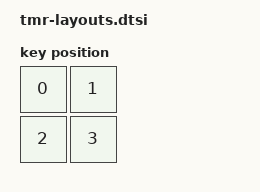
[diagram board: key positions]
// See https://zmk.dev/docs/development/hardware-integration/physical-layouts
// for how to configure this.

#include <dt-bindings/he/mouse_forwarder.h>
#include <dt-bindings/he/gamepad_forwarder.h>
#include <input/he_processors.dtsi>
#include <physical_layouts.dtsi>

&kscan_adc_top {
    first {
        io-channels = <&adc 0>;
        // deadzone-top = <>;
        // deadzone-bottom = <>;
        calibration-min = <2095>;
        calibration-max = <3286>;
    };
    second {
        io-channels = <&adc 1>;
        // deadzone-top = <>;
        // deadzone-bottom = <>;
        calibration-min = <2067>;
        calibration-max = <3245>;
    };
};

&kscan_adc_bot {
    first {
        io-channels = <&adc 2>;
        // deadzone-top = <>;
        // deadzone-bottom = <>;
        calibration-min = <2072>;
        calibration-max = <3232>;
    };
    second {
        io-channels = <&adc 3>;
        // deadzone-top = <>;
        // deadzone-bottom = <>;
        calibration-min = <2193>;
        calibration-max = <3278>;
    };
};



&adc {
    status = "okay";

    #address-cells = <1>;
    #size-cells = <0>;
    channel@0 {
        reg = <0>;
        zephyr,input-positive = <2>;
        zephyr,gain = "ADC_GAIN_1_2";
        zephyr,reference = "ADC_REF_INTERNAL";
        zephyr,acquisition-time = <ADC_ACQ_TIME(ADC_ACQ_TIME_MICROSECONDS, 10)>;
        zephyr,resolution = <12>;
    };
    channel@1 {
        reg = <1>;
        zephyr,input-positive = <3>;
        zephyr,gain = "ADC_GAIN_1_2";
        zephyr,reference = "ADC_REF_INTERNAL";
        zephyr,acquisition-time = <ADC_ACQ_TIME(ADC_ACQ_TIME_MICROSECONDS, 10)>;
        zephyr,resolution = <12>;
    };
    channel@2 {
        reg = <2>;
        zephyr,input-positive = <4>;
        zephyr,gain = "ADC_GAIN_1_2";
        zephyr,reference = "ADC_REF_INTERNAL";
        zephyr,acquisition-time = <ADC_ACQ_TIME(ADC_ACQ_TIME_MICROSECONDS, 10)>;
        zephyr,resolution = <12>;
    };
    channel@3 {
        reg = <3>;
        zephyr,input-positive = <5>;
        zephyr,gain = "ADC_GAIN_1_2";
        zephyr,reference = "ADC_REF_INTERNAL";
        zephyr,acquisition-time = <ADC_ACQ_TIME(ADC_ACQ_TIME_MICROSECONDS, 10)>;
        zephyr,resolution = <12>;
    };
};

&raw_sp {
    matrix-size = <2 2>;
    working-area = <250 3050>;
    // I lost so many hours debugging this with the wrong values, please check them carefully in the future
    filter-coefficients = <0x3ca485df 0x3d2485df 0x3ca485df 0x3f800000 0xbfc7cf71 0x3f242f9d>;
};

&he_trans {
};

&he_pass {
    kscan-passthrough-position = <2700>;
    keymap-size = <4>;
};

&rt_pass{
    keymap-size = <4>;
};

/ {
    default_layout: default_layout {
        compatible = "zmk,physical-layout";
        display-name = "Default Layout";
        transform = <&default_transform>;
        kscan = <&kscan>;

        // Edit this to define the positions and sizes of the keys, or remove it
        // if your keyboard will not support ZMK Studio.
        // https://zmk.dev/docs/development/hardware-integration/physical-layouts#optional-keys-property
        keys  //                     w   h    x    y     rot    rx    ry
            = <&key_physical_attrs 100 100    0    0       0     0     0>
            , <&key_physical_attrs 100 100  100    0       0     0     0>
            , <&key_physical_attrs 100 100    0  100       0     0     0>
            , <&key_physical_attrs 100 100  100  100       0     0     0>
            ;
    };
};


